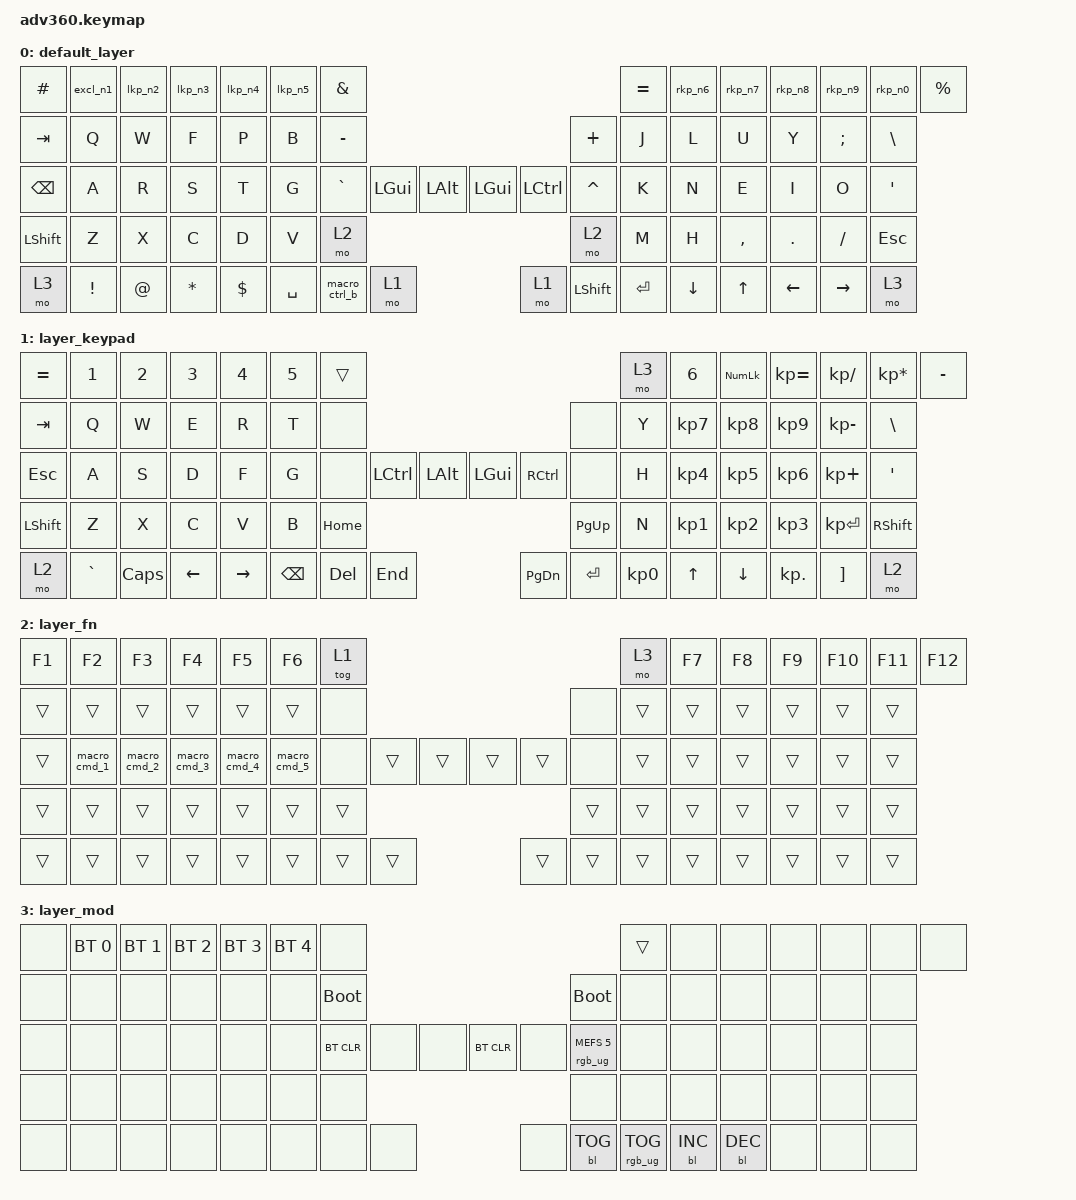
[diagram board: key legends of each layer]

/*
 * Copyright (c) 2020 The ZMK Contributors
 *
 * SPDX-License-Identifier: MIT
 */


/* THIS FILE WAS GENERATED!
 *
 * This file was generated automatically. You may or may not want to
 * edit it directly.
 */

#include <behaviors.dtsi>
#include <dt-bindings/zmk/keys.h>
#include <dt-bindings/zmk/bt.h>
#include <dt-bindings/zmk/rgb.h>
#include <dt-bindings/zmk/backlight.h>

/ {
  behaviors {
    #include "macros.dtsi"

    hm: homerow_mods {
        compatible = "zmk,behavior-hold-tap";
        label = "HOMEROW_MODS";
        #binding-cells = <2>;
        tapping-term-ms = <200>;
        quick_tap_ms = <175>;
        flavor = "tap-preferred";
        bindings = <&kp>, <&kp>;
    };

    excl_n1: exclamation_kp_n1 {
        compatible = "zmk,behavior-mod-morph";
        label = "exclamation_kp_n1";
        #binding-cells = <0>;
        bindings = <&kp EXCLAMATION>, <&kp N1>;
        mods = <(MOD_LSFT|LGUI|LSHIFT|RGUI|RSHIFT)>;
    };

     lkp_n2: at_sign_n2 {
        compatible = "zmk,behavior-mod-morph";
        label = "at_sign_n2";
        #binding-cells = <0>;
        bindings = <&kp AT_SIGN>, <&kp N2>;
        mods = <(LGUI|LSHIFT|RGUI|RSHIFT)>;
    };

    lkp_n3: left_brace_kp_n3 {
        compatible = "zmk,behavior-mod-morph";
        label = "left_brace_kp_n3";
        #binding-cells = <0>;
        bindings = <&kp LEFT_BRACE>, <&kp N3>;
        mods = <(LGUI|LSHIFT|RGUI|RSHIFT)>;
    };

    lkp_n4: left_parenthesis_kp_n4 {
        compatible = "zmk,behavior-mod-morph";
        label = "left_parenthesis_kp_n4";
        #binding-cells = <0>;
        bindings = <&kp LEFT_PARENTHESIS>, <&kp N4>;
        mods = <(LGUI|LSHIFT|RGUI|RSHIFT)>;
    };

    lkp_n5: left_bracket_n5 {
        compatible = "zmk,behavior-mod-morph";
        label = "left_bracket_n5";
        #binding-cells = <0>;
        bindings = <&kp LEFT_BRACKET>, <&kp N5>;
        mods = <(LGUI|LSHIFT|RGUI|RSHIFT)>;
    };

    rkp_n6: right_bracket_n6 {
        compatible = "zmk,behavior-mod-morph";
        label = "right_bracket_n6";
        #binding-cells = <0>;
        bindings = <&kp RIGHT_BRACKET>, <&kp N6>;
        mods = <(LGUI|LSHIFT|RGUI|RSHIFT)>;
    };

    rkp_n7: right_parenthesis_kp_n7 {
        compatible = "zmk,behavior-mod-morph";
        label = "right_parenthesis_kp_n7";
        #binding-cells = <0>;
        bindings = <&kp RIGHT_PARENTHESIS>, <&kp N7>;
        mods = <(LGUI|LSHIFT|RGUI|RSHIFT)>;
    };

    rkp_n8: right_brace_kp_n8 {
        compatible = "zmk,behavior-mod-morph";
        label = "right_brace_kp_n8";
        #binding-cells = <0>;
        bindings = <&kp RIGHT_BRACE>, <&kp N8>;
        mods = <(LGUI|LSHIFT|RGUI|RSHIFT)>;
    };

    rkp_n9: right_asterisk_kp_n9 {
        compatible = "zmk,behavior-mod-morph";
        label = "right_asterisk_kp_n9";
        #binding-cells = <0>;
        bindings = <&kp ASTERISK>, <&kp N9>;
        mods = <(LGUI|LSHIFT|RGUI|RSHIFT)>;
    };

    rkp_n0: right_dollar_kp_n0 {
        compatible = "zmk,behavior-mod-morph";
        label = "right_dollar_kp_n0";
        #binding-cells = <0>;
        bindings = <&kp DOLLAR>, <&kp N0>;
        mods = <(LGUI|LSHIFT|RGUI|RSHIFT)>;
    };
  };

 keymap {
        compatible = "zmk,keymap";


        default_layer {
            bindings = <
     &kp HASH     &excl_n1 &lkp_n2    &lkp_n3     &lkp_n4  &lkp_n5            &kp AMPERSAND                                                                     &kp EQUAL  &rkp_n6  &rkp_n7     &rkp_n8    &rkp_n9         &rkp_n0         &kp PERCENT
       &kp TAB      &kp Q     &kp W     &kp F      &kp P   &kp B                &kp MINUS                                                                      &kp PLUS   &kp J   &kp L      &kp U     &kp Y  &kp SEMICOLON          &kp BSLH
 &kp BACKSPACE      &kp A     &kp R     &kp S      &kp T   &kp G                &kp GRAVE        &kp LGUI  &kp LALT                  &kp LGUI       &kp LCTRL  &kp CARET   &kp K   &kp N      &kp E     &kp I          &kp O  &kp SINGLE_QUOTE
     &kp LSHFT      &kp Z     &kp X     &kp C      &kp D   &kp V                                             &mo 2                     &mo 2                              &kp M   &kp H  &kp COMMA   &kp DOT       &kp FSLH         &kp ESC
         &mo 3  &kp EXCLAMATION  &kp AT_SIGN  &kp STAR  &kp DOLLAR                       &kp SPACE  &macro_ctrl_b     &mo 1                     &mo 1  &kp LSHFT  &kp ENTER          &kp DOWN   &kp UP  &kp LEFT       &kp RIGHT             &mo 3
            >;
        };

        layer_keypad {
            bindings = <
 &kp EQUAL     &kp N1    &kp N2    &kp N3     &kp N4  &kp N5              &trans                                                                 &mo 3  &kp N6  &kp KP_NUM  &kp KP_EQUAL  &kp KP_DIVIDE  &kp KP_MULTIPLY  &kp MINUS
   &kp TAB      &kp Q     &kp W     &kp E      &kp R   &kp T               &none                                                                 &none   &kp Y   &kp KP_N7     &kp KP_N8      &kp KP_N9     &kp KP_MINUS   &kp BSLH
   &kp ESC      &kp A     &kp S     &kp D      &kp F   &kp G               &none  &kp LCTRL  &kp LALT                   &kp LGUI  &kp RCTRL      &none   &kp H   &kp KP_N4     &kp KP_N5      &kp KP_N6      &kp KP_PLUS    &kp SQT
 &kp LSHFT      &kp Z     &kp X     &kp C      &kp V   &kp B                                 &kp HOME                  &kp PG_UP                         &kp N   &kp KP_N1     &kp KP_N2      &kp KP_N3     &kp KP_ENTER  &kp RSHFT
     &mo 2  &kp GRAVE  &kp CAPS  &kp LEFT  &kp RIGHT                    &kp BSPC    &kp DEL   &kp END                  &kp PG_DN  &kp ENTER  &kp KP_N0              &kp UP      &kp DOWN     &kp KP_DOT         &kp RBKT      &mo 2
            >;
        };

        layer_fn {
            bindings = <
 &kp F1  &kp F2  &kp F3  &kp F4  &kp F5  &kp F6            &tog 1                                                   &mo 3  &kp F7  &kp F8  &kp F9  &kp F10  &kp F11  &kp F12
 &trans  &trans  &trans  &trans  &trans  &trans             &none                                                   &none  &trans  &trans  &trans   &trans   &trans   &trans
 &trans  &macro_cmd_1  &macro_cmd_2  &macro_cmd_3  &macro_cmd_4  &macro_cmd_5             &none  &trans  &trans                  &trans  &trans   &none  &trans  &trans  &trans   &trans   &trans   &trans
 &trans  &trans  &trans  &trans  &trans  &trans                            &trans                  &trans                  &trans  &trans  &trans   &trans   &trans   &trans
 &trans  &trans  &trans  &trans  &trans                    &trans  &trans  &trans                  &trans  &trans  &trans          &trans  &trans   &trans   &trans   &trans
            >;
        };

        layer_mod {
            bindings = <
  &none  &bt BT_SEL 0  &bt BT_SEL 1  &bt BT_SEL 2  &bt BT_SEL 3  &bt BT_SEL 4                  &none                                                                          &trans   &none       &none       &none   &none   &none   &none
  &none         &none         &none         &none         &none         &none            &bootloader                                                                     &bootloader   &none       &none       &none   &none   &none   &none
  &none         &none         &none         &none         &none         &none             &bt BT_CLR   &none   &none                  &bt BT_CLR       &none  &rgb_ug RGB_MEFS_CMD 5   &none       &none       &none   &none   &none   &none
  &none         &none         &none         &none         &none         &none                                  &none                       &none                                       &none       &none       &none   &none   &none   &none
  &none         &none         &none         &none         &none                                &none   &none   &none                       &none  &bl BL_TOG         &rgb_ug RGB_TOG          &bl BL_INC  &bl BL_DEC   &none   &none   &none
            >;
        };

    };
};
